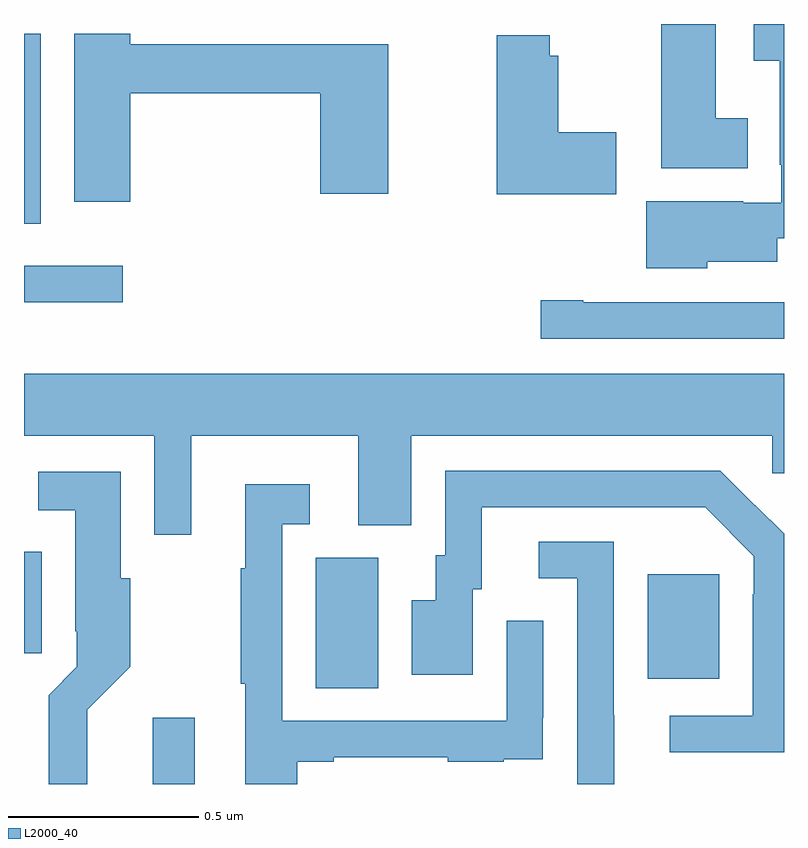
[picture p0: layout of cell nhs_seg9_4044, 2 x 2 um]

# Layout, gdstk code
import gdstk
lib = gdstk.Library(unit=1e-6, precision=1e-09)
def R(c, l, rs):  # rectangles x0, y0, x1, y1
    for r in rs: c.add(gdstk.rectangle(r[:2], r[2:], *l))
def P(c, l, *ps):  # polygons
    for p in ps: c.add(gdstk.Polygon(p, *l))
L2000_40 = (2000, 40)

nhs_seg9_4044 = lib.new_cell('nhs_seg9_4044')
R(nhs_seg9_4044, L2000_40, [(161.339,1199.5,161.449,1199.674), (161.768,1199.752,161.932,1200.096), (162.641,1199.777,162.829,1200.052), (161,1199.844,161.047,1200.111), (161,1200.768,161.26,1200.864), (161,1200.974,161.044,1201.474)])
P(nhs_seg9_4044, L2000_40, [(162.904,1201.252),(162.82,1201.252),(162.82,1201.5),(162.677,1201.5),(162.677,1201.121),(162.904,1201.121)],
  [(162.798,1200.875),(162.982,1200.875),(162.982,1200.936),(163,1200.936),(163,1201.5),(162.92,1201.5),(162.92,1201.403),(162.989,1201.403),(162.989,1201.129),(162.993,1201.129),(162.993,1201.029),(162.893,1201.029),(162.893,1201.033),(162.638,1201.033),(162.638,1200.857),(162.798,1200.857)],
  [(161.279,1201.318),(161.78,1201.318),(161.78,1201.053),(161.958,1201.053),(161.958,1201.447),(161.279,1201.447),(161.279,1201.474),(161.132,1201.474),(161.132,1201.032),(161.279,1201.032)],
  [(162.559,1201.215),(162.406,1201.215),(162.406,1201.417),(162.384,1201.417),(162.384,1201.471),(162.244,1201.471),(162.244,1201.052),(162.559,1201.052)],
  [(163,1200.768),(162.472,1200.768),(162.472,1200.773),(162.36,1200.773),(162.36,1200.672),(163,1200.672)],
  [(161,1200.416),(161.343,1200.416),(161.343,1200.156),(161.44,1200.156),(161.44,1200.416),(161.879,1200.416),(161.879,1200.181),(162.019,1200.181),(162.019,1200.416),(162.969,1200.416),(162.969,1200.318),(163,1200.318),(163,1200.58),(161,1200.58)],
  [(163,1200.158),(162.924,1200.234),(162.923,1200.233),(162.832,1200.324),(162.108,1200.324),(162.108,1200.102),(162.083,1200.102),(162.083,1199.983),(162.02,1199.983),(162.02,1199.787),(162.181,1199.787),(162.181,1200.012),(162.205,1200.012),(162.205,1200.228),(162.793,1200.228),(162.921,1200.099),(162.921,1199.999),(162.918,1199.999),(162.918,1199.679),(162.699,1199.679),(162.699,1199.583),(163,1199.583)],
  [(161.167,1199.696),(161.28,1199.809),(161.28,1200.042),(161.254,1200.042),(161.254,1200.322),(161.037,1200.322),(161.037,1200.221),(161.135,1200.221),(161.135,1199.902),(161.139,1199.902),(161.139,1199.808),(161.065,1199.734),(161.065,1199.5),(161.167,1199.5)],
  [(161.719,1199.559),(161.815,1199.559),(161.815,1199.571),(162.115,1199.571),(162.115,1199.559),(162.263,1199.559),(162.263,1199.565),(162.365,1199.565),(162.365,1199.674),(162.366,1199.674),(162.366,1199.929),(162.27,1199.929),(162.27,1199.667),(161.679,1199.667),(161.679,1200.183),(161.752,1200.183),(161.752,1200.289),(161.582,1200.289),(161.582,1200.068),(161.571,1200.068),(161.571,1199.764),(161.582,1199.764),(161.582,1199.5),(161.719,1199.5)],
  [(162.553,1199.681),(162.552,1199.681),(162.552,1200.138),(162.354,1200.138),(162.354,1200.042),(162.456,1200.042),(162.456,1199.5),(162.553,1199.5)])

lib.write_gds('nhs_seg9_4044.gds')
